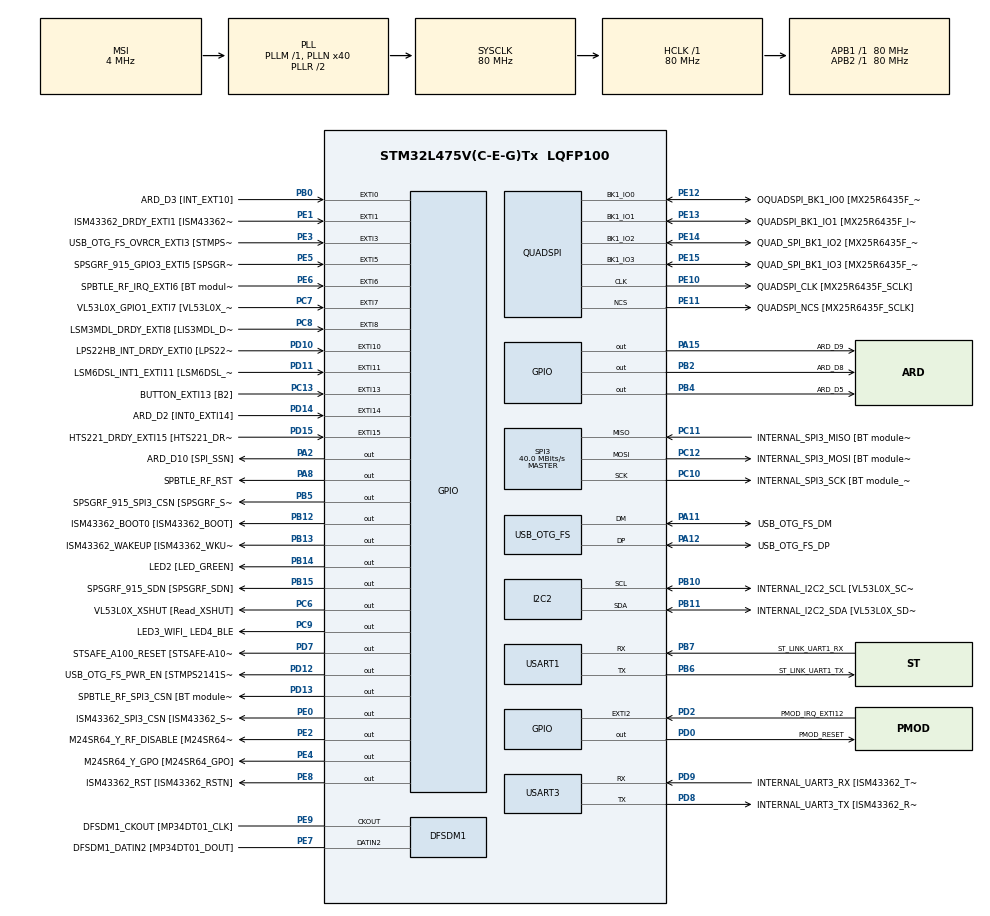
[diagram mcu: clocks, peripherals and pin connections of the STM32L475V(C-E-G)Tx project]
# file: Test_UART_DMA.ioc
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Dma.Request0=USART1_TX
Dma.USART1_TX.0.Direction=DMA_MEMORY_TO_PERIPH
Dma.USART1_TX.0.Instance=DMA1_Channel4
Dma.USART1_TX.0.MemDataAlignment=DMA_MDATAALIGN_BYTE
Dma.USART1_TX.0.MemInc=DMA_MINC_ENABLE
Dma.USART1_TX.0.Mode=DMA_NORMAL
Dma.USART1_TX.0.PeriphDataAlignment=DMA_PDATAALIGN_BYTE
Dma.USART1_TX.0.PeriphInc=DMA_PINC_DISABLE
Dma.USART1_TX.0.Priority=DMA_PRIORITY_LOW
FREERTOS.Tasks01=defaultTask,24,128,StartDefaultTask,Default,NULL,Dynamic,NULL,NULL
FREERTOS.configUSE_NEWLIB_REENTRANT=1
Mcu.Family=STM32L4
Mcu.Name=STM32L475V(C-E-G)Tx
Mcu.Package=LQFP100
NVIC.DMA1_Channel4_IRQn=true\:5\:0\:false\:false\:true\:true\:false\:true\:true
NVIC.EXTI15_10_IRQn=true\:5\:0\:false\:false\:true\:true\:true\:true\:true
NVIC.EXTI9_5_IRQn=true\:5\:0\:false\:false\:true\:true\:true\:true\:true
NVIC.PriorityGroup=NVIC_PRIORITYGROUP_4
NVIC.TIM1_UP_TIM16_IRQn=true\:15\:0\:false\:false\:true\:false\:false\:true\:true
NVIC.TimeBase=TIM1_UP_TIM16_IRQn
NVIC.TimeBaseIP=TIM1
NVIC.USART1_IRQn=true\:5\:0\:false\:false\:true\:true\:true\:true\:true
PA0.GPIO_Label=ARD_D1 [UART4_TX]
PA0.Signal=UART4_TX
PA1.GPIO_Label=ARD_D0 [UART4_RX]
PA1.Signal=UART4_RX
PA10.GPIO_Label=USB_OTG_FS_ID
PA10.Signal=USB_OTG_FS_ID
PA11.GPIO_Label=USB_OTG_FS_DM
PA11.Mode=Device_Only
PA11.Signal=USB_OTG_FS_DM
PA12.GPIO_Label=USB_OTG_FS_DP
PA12.Mode=Device_Only
PA12.Signal=USB_OTG_FS_DP
PA13\ (JTMS-SWDIO).GPIO_Label=SYS_JTMS_SWDIO
PA13\ (JTMS-SWDIO).Mode=Serial_Wire
PA13\ (JTMS-SWDIO).Signal=SYS_JTMS-SWDIO
PA14\ (JTCK-SWCLK).GPIO_Label=SYS_JTCK_SWCLK
PA14\ (JTCK-SWCLK).Mode=Serial_Wire
PA14\ (JTCK-SWCLK).Signal=SYS_JTCK-SWCLK
PA15\ (JTDI).GPIO_Label=ARD_D9
PA15\ (JTDI).Signal=GPIO_Output
PA2.GPIO_Label=ARD_D10 [SPI_SSN]
PA2.Signal=GPIO_Output
PA3.GPIO_Label=ARD_D4
PA3.Signal=S_TIM2_CH4
PA4.GPIO_Label=ARD_D7
PA4.Signal=ADCx_IN9
PA5.GPIO_Label=ARD_D13 [SPI1_SCK]
PA5.Signal=SPI1_SCK
PA6.GPIO_Label=ARD_D12 [SPI1_MISO]
PA6.Signal=SPI1_MISO
PA7.GPIO_Label=ARD_D11 [SPI1_MOSI]
PA7.Signal=SPI1_MOSI
PA8.GPIO_Label=SPBTLE_RF_RST
PA8.Signal=GPIO_Output
PA9.GPIO_Label=USB_OTG_FS_VBUS [STMPS2141STR_OUT]
PA9.Signal=USB_OTG_FS_VBUS
PB0.GPIO_Label=ARD_D3 [INT_EXT10]
PB0.Signal=GPXTI0
PB1.GPIO_Label=ARD_D6 [ADC1_IN6]
PB1.Signal=ADCx_IN16
PB10.GPIO_Label=INTERNAL_I2C2_SCL [VL53L0X_SCL]
PB10.GPIO_Pu=GPIO_PULLUP
PB10.Mode=I2C
PB10.Signal=I2C2_SCL
PB11.GPIO_Label=INTERNAL_I2C2_SDA [VL53L0X_SDA]
PB11.GPIO_Pu=GPIO_PULLUP
PB11.Mode=I2C
PB11.Signal=I2C2_SDA
PB12.GPIO_Label=ISM43362_BOOT0 [ISM43362_BOOT]
PB12.Signal=GPIO_Output
PB13.GPIO_Label=ISM43362_WAKEUP [ISM43362_WKUP]
PB13.Signal=GPIO_Output
PB14.GPIO_Label=LED2 [LED_GREEN]
PB14.Signal=GPIO_Output
PB15.GPIO_Label=SPSGRF_915_SDN [SPSGRF_SDN]
PB15.Signal=GPIO_Output
PB2.GPIO_Label=ARD_D8
PB2.Signal=GPIO_Output
PB3\ (JTDO-TRACESWO).GPIO_Label=SYS_JTD0_SWO
PB3\ (JTDO-TRACESWO).Signal=SYS_JTDO-SWO
PB4\ (NJTRST).GPIO_Label=ARD_D5
PB4\ (NJTRST).Signal=GPIO_Output
PB5.GPIO_Label=SPSGRF_915_SPI3_CSN [SPSGRF_SPI_CS]
PB5.PinState=GPIO_PIN_SET
PB5.Signal=GPIO_Output
PB6.GPIO_Label=ST_LINK_UART1_TX
PB6.Mode=Asynchronous
PB6.Signal=USART1_TX
PB7.GPIO_Label=ST_LINK_UART1_RX
PB7.Mode=Asynchronous
PB7.Signal=USART1_RX
PB8.GPIO_Label=ARD_D15 [I2C1_SCL]
PB8.Signal=I2C1_SCL
PB9.GPIO_Label=ARD_D14 [I2C1_SDA]
PB9.Signal=I2C1_SDA
PC0.GPIO_Label=ARD_A5 [ADC]
PC0.Signal=ADCx_IN1
PC1.GPIO_Label=ARD_A4 [ADC]
PC1.Signal=ADCx_IN2
PC10.GPIO_Label=INTERNAL_SPI3_SCK [BT module_SPI_SCLK] [ISM43362_SCK]
PC10.Mode=Full_Duplex_Master
PC10.Signal=SPI3_SCK
PC11.GPIO_Label=INTERNAL_SPI3_MISO [BT module_SPI_MISO] [ISM43362_MISO]
PC11.Mode=Full_Duplex_Master
PC11.Signal=SPI3_MISO
PC12.GPIO_Label=INTERNAL_SPI3_MOSI [BT module_SPI_MOSI] [ISM43362_MOSI]
PC12.Mode=Full_Duplex_Master
PC12.Signal=SPI3_MOSI
PC13.GPIO_Label=BUTTON_EXTI13 [B2]
PC13.GPIO_ModeDefaultEXTI=GPIO_MODE_IT_FALLING
PC13.Signal=GPXTI13
PC14-OSC32_IN\ (PC14).Mode=LSE-External-Oscillator
PC14-OSC32_IN\ (PC14).Signal=RCC_OSC32_IN
PC15-OSC32_OUT\ (PC15).Mode=LSE-External-Oscillator
PC15-OSC32_OUT\ (PC15).Signal=RCC_OSC32_OUT
PC2.GPIO_Label=ARD_A3 [ADC]
PC2.Signal=ADCx_IN3
PC3.GPIO_Label=ARD_A2 [ADC]
PC3.Signal=ADCx_IN4
PC4.GPIO_Label=ARD_A1 [ADC]
PC4.Signal=ADCx_IN13
PC5.GPIO_Label=ARD_A0 [ADC]
PC5.Signal=ADCx_IN14
PC6.GPIO_Label=VL53L0X_XSHUT [Read_XSHUT]
PC6.Signal=GPIO_Output
PC7.GPIO_Label=VL53L0X_GPIO1_EXTI7 [VL53L0X_GPIO1]
PC7.Signal=GPXTI7
PC8.GPIO_Label=LSM3MDL_DRDY_EXTI8 [LIS3MDL_DRDY]
PC8.Signal=GPXTI8
PC9.GPIO_Label=LED3_WIFI_ LED4_BLE
PC9.Signal=GPIO_Output
PD0.GPIO_Label=PMOD_RESET
PD0.Signal=GPIO_Output
PD1.GPIO_Label=PMOD_SPI2_SCK
PD1.Signal=SPI2_SCK
PD10.GPIO_Label=LPS22HB_INT_DRDY_EXTI0 [LPS22HB_INT_DRDY] 
PD10.Signal=GPXTI10
PD11.GPIO_Label=LSM6DSL_INT1_EXTI11 [LSM6DSL_INT1]
PD11.Signal=GPXTI11
PD12.GPIO_Label=USB_OTG_FS_PWR_EN [STMPS2141STR_EN]
PD12.Signal=GPIO_Output
PD13.GPIO_Label=SPBTLE_RF_SPI3_CSN [BT module_SPI_CS]
PD13.PinState=GPIO_PIN_SET
PD13.Signal=GPIO_Output
PD14.GPIO_Label=ARD_D2 [INT0_EXTI14]
PD14.Signal=GPXTI14
PD15.GPIO_Label=HTS221_DRDY_EXTI15 [HTS221_DRDY]
PD15.Signal=GPXTI15
PD2.GPIO_Label=PMOD_IRQ_EXTI12
PD2.Signal=GPXTI2
PD3.GPIO_Label=PMOD_UART2_CTS
PD3.Signal=USART2_CTS
PD4.GPIO_Label=PMOD_UART2_RTS
PD4.Signal=USART2_RTS
PD5.GPIO_Label=PMOD_UART2_TX
PD5.Signal=USART2_TX
PD6.GPIO_Label=PMOD_UART2_RX
PD6.Signal=USART2_RX
PD7.GPIO_Label=STSAFE_A100_RESET [STSAFE-A100_RESET]
PD7.Signal=GPIO_Output
PD8.GPIO_Label=INTERNAL_UART3_TX [ISM43362_RX]
PD8.Mode=Asynchronous
PD8.Signal=USART3_TX
PD9.GPIO_Label=INTERNAL_UART3_RX [ISM43362_TX]
PD9.Mode=Asynchronous
PD9.Signal=USART3_RX
PE0.GPIO_Label=ISM43362_SPI3_CSN [ISM43362_SSN]
PE0.PinState=GPIO_PIN_SET
PE0.Signal=GPIO_Output
PE1.GPIO_Label=ISM43362_DRDY_EXTI1 [ISM43362_DATARDY]
PE1.Signal=GPXTI1
PE10.GPIO_Label=QUADSPI_CLK [MX25R6435F_SCLK]
PE10.Mode=Single Bank
PE10.Signal=QUADSPI_CLK
PE11.GPIO_Label=QUADSPI_NCS [MX25R6435F_SCLK]
PE11.Mode=Single Bank
PE11.Signal=QUADSPI_NCS
PE12.GPIO_Label=OQUADSPI_BK1_IO0 [MX25R6435F_IO0]
PE12.Mode=Single Bank
PE12.Signal=QUADSPI_BK1_IO0
PE13.GPIO_Label=QUADSPI_BK1_IO1 [MX25R6435F_IO1]
PE13.Mode=Single Bank
PE13.Signal=QUADSPI_BK1_IO1
PE14.GPIO_Label=QUAD_SPI_BK1_IO2 [MX25R6435F_IO2]
PE14.Mode=Single Bank
PE14.Signal=QUADSPI_BK1_IO2
PE15.GPIO_Label=QUAD_SPI_BK1_IO3 [MX25R6435F_IO3]
PE15.Mode=Single Bank
PE15.Signal=QUADSPI_BK1_IO3
PE2.GPIO_Label=M24SR64_Y_RF_DISABLE [M24SR64_RFDIS]
PE2.Signal=GPIO_Output
PE3.GPIO_Label=USB_OTG_FS_OVRCR_EXTI3 [STMPS2141STR_FAULT]
PE3.Signal=GPXTI3
PE4.GPIO_Label=M24SR64_Y_GPO [M24SR64_GPO]
PE4.Signal=GPIO_Output
PE5.GPIO_Label=SPSGRF_915_GPIO3_EXTI5 [SPSGRF_GPIO_3]
PE5.Signal=GPXTI5
PE6.GPIO_Label=SPBTLE_RF_IRQ_EXTI6 [BT module_SPI_IRQ]
PE6.Signal=GPXTI6
PE7.GPIO_Label=DFSDM1_DATIN2 [MP34DT01_DOUT]
PE7.Signal=S_DATAIN2DFSDM1
PE8.GPIO_Label=ISM43362_RST [ISM43362_RSTN]
PE8.Signal=GPIO_Output
PE9.GPIO_Label=DFSDM1_CKOUT [MP34DT01_CLK]
PE9.Signal=S_CKOUTDFSDM1
ProjectManager.HeapSize=0x200
ProjectManager.StackSize=0x400
ProjectManager.TargetToolchain=STM32CubeIDE
QUADSPI.ClockPrescaler=2
QUADSPI.FifoThreshold=4
QUADSPI.FlashSize=23
QUADSPI.SampleShifting=QSPI_SAMPLE_SHIFTING_HALFCYCLE
RCC.ADCFreq_Value=48000000
RCC.AHBFreq_Value=80000000
RCC.APB1Freq_Value=80000000
RCC.APB1TimFreq_Value=80000000
RCC.APB2Freq_Value=80000000
RCC.APB2TimFreq_Value=80000000
RCC.CortexFreq_Value=80000000
RCC.HCLKFreq_Value=80000000
RCC.HSE_VALUE=8000000
RCC.HSI_VALUE=16000000
RCC.MSI_VALUE=4000000
RCC.PLLN=40
RCC.PLLSAI1N=24
RCC.SYSCLKFreq_VALUE=80000000
RCC.SYSCLKSource=RCC_SYSCLKSOURCE_PLLCLK
RCC.USBFreq_Value=48000000
RCC.VCOOutputFreq_Value=160000000
SH.ADCx_IN1.0=ADC1_IN1
SH.ADCx_IN13.0=ADC1_IN13
SH.ADCx_IN14.0=ADC1_IN14
SH.ADCx_IN16.0=ADC1_IN16
SH.ADCx_IN2.0=ADC1_IN2
SH.ADCx_IN3.0=ADC1_IN3
SH.ADCx_IN4.0=ADC1_IN4
SH.ADCx_IN9.0=ADC1_IN9
SH.S_CKOUTDFSDM1.0=DFSDM1_CKOUT,CKOUT
SH.S_CKOUTDFSDM1.1=DFSDM1_CKOUT,PDM_SPI_Input_from_ch12_and_Internal_Clock
SH.S_DATAIN2DFSDM1.0=DFSDM1_DATIN2,PDM_SPI_Input_from_ch12_and_Internal_Clock
SH.S_TIM2_CH4.0=TIM2_CH4
SPI3.CalculateBaudRate=40.0 MBits/s
SPI3.Direction=SPI_DIRECTION_2LINES
SPI3.Mode=SPI_MODE_MASTER
SPI3.VirtualType=VM_MASTER
USART1.VirtualMode-Asynchronous=VM_ASYNC
USART3.VirtualMode-Asynchronous=VM_ASYNC
USB_OTG_FS.VirtualMode=Device_Only
VP_FREERTOS_VS_CMSIS_V2.Mode=CMSIS_V2
VP_SYS_VS_tim1.Mode=TIM1
board=B-L475E-IOT01A1

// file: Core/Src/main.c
/* USER CODE BEGIN Header */
/**
  ******************************************************************************
  * @file           : main.c
  * @brief          : Main program body
  ******************************************************************************
  * @attention
  *
  * Copyright (c) 2024 STMicroelectronics.
  * All rights reserved.
  *
  * This software is licensed under terms that can be found in the LICENSE file
  * in the root directory of this software component.
  * If no LICENSE file comes with this software, it is provided AS-IS.
  *
  ******************************************************************************
  */
/* USER CODE END Header */
#include "main.h"
#include "cmsis_os.h"

DFSDM_Channel_HandleTypeDef hdfsdm1_channel1;

I2C_HandleTypeDef hi2c2;

QSPI_HandleTypeDef hqspi;

SPI_HandleTypeDef hspi3;

UART_HandleTypeDef huart1;
UART_HandleTypeDef huart3;
DMA_HandleTypeDef hdma_usart1_tx;

PCD_HandleTypeDef hpcd_USB_OTG_FS;

/* USER CODE BEGIN PV */

osThreadId_t TX_TaskHandle;
const osThreadAttr_t TX_Task_attributes = {
  .name = "tx_task",
  .stack_size = 128 * 4,
  .priority = (osPriority_t) osPriorityHigh,
};

osThreadId_t BG_TaskHandle;
const osThreadAttr_t BG_Task_attributes = {
  .name = "bg_task",
  .stack_size = 128 * 4,
  .priority = (osPriority_t) osPriorityNormal,
};

/* USER CODE END PV */

void SystemClock_Config(void);
static void MX_GPIO_Init(void);
static void MX_DMA_Init(void);
static void MX_DFSDM1_Init(void);
static void MX_I2C2_Init(void);
static void MX_QUADSPI_Init(void);
static void MX_SPI3_Init(void);
static void MX_USART1_UART_Init(void);
static void MX_USART3_UART_Init(void);
static void MX_USB_OTG_FS_PCD_Init(void);
void StartTXTask(void *argument);
void StartBGTask(void *argument);

int main(void)
{

  /* USER CODE BEGIN 1 */

	/* UART with DMA working!

	 What I needed to do:

	 Follow https://wiki.st.com/stm32mcu/wiki/Getting_started_with_UART#UART_with_DMA

	 At first I missed this step in CubeMX - important or you only get one (1) transfer):
	 	 - USART1 global interrupt in NVIC Settings should still be enabled.
	 */

  /* USER CODE END 1 */

  /* MCU Configuration--------------------------------------------------------*/

  /* Reset of all peripherals, Initializes the Flash interface and the Systick. */
  HAL_Init();

  /* Configure the system clock */
  SystemClock_Config();

  /* USER CODE BEGIN SysInit */
  SystemCoreClockUpdate();
  /* USER CODE END SysInit */

  /* Initialize all configured peripherals */
  MX_GPIO_Init();
  MX_DMA_Init();
  MX_DFSDM1_Init();
  MX_I2C2_Init();
  MX_QUADSPI_Init();
  MX_SPI3_Init();
  MX_USART1_UART_Init();
  MX_USART3_UART_Init();
  MX_USB_OTG_FS_PCD_Init();

  /* Init scheduler */
  osKernelInitialize();

  /* Create the thread(s) */

  /* USER CODE BEGIN RTOS_THREADS */
  TX_TaskHandle = osThreadNew(StartTXTask, NULL, &TX_Task_attributes);
  BG_TaskHandle = osThreadNew(StartBGTask, NULL, &BG_Task_attributes);
  /* USER CODE END RTOS_THREADS */

  /* Start scheduler */
  osKernelStart();

  /* We should never get here as control is now taken by the scheduler */

  /* Infinite loop */
  while (1)
  {

  }
}

void SystemClock_Config(void)
{
  RCC_OscInitTypeDef RCC_OscInitStruct = {0};
  RCC_ClkInitTypeDef RCC_ClkInitStruct = {0};

  /** Configure the main internal regulator output voltage
  */
  if (HAL_PWREx_ControlVoltageScaling(PWR_REGULATOR_VOLTAGE_SCALE1) != HAL_OK)
  {
    Error_Handler();
  }

  /** Configure LSE Drive Capability
  */
  HAL_PWR_EnableBkUpAccess();
  __HAL_RCC_LSEDRIVE_CONFIG(RCC_LSEDRIVE_LOW);

  /** Initializes the RCC Oscillators according to the specified parameters
  * in the RCC_OscInitTypeDef structure.
  */
  RCC_OscInitStruct.OscillatorType = RCC_OSCILLATORTYPE_LSE|RCC_OSCILLATORTYPE_MSI;
  RCC_OscInitStruct.LSEState = RCC_LSE_ON;
  RCC_OscInitStruct.MSIState = RCC_MSI_ON;
  RCC_OscInitStruct.MSICalibrationValue = 0;
  RCC_OscInitStruct.MSIClockRange = RCC_MSIRANGE_6;
  RCC_OscInitStruct.PLL.PLLState = RCC_PLL_ON;
  RCC_OscInitStruct.PLL.PLLSource = RCC_PLLSOURCE_MSI;
  RCC_OscInitStruct.PLL.PLLM = 1;
  RCC_OscInitStruct.PLL.PLLN = 40;
  RCC_OscInitStruct.PLL.PLLP = RCC_PLLP_DIV7;
  RCC_OscInitStruct.PLL.PLLQ = RCC_PLLQ_DIV2;
  RCC_OscInitStruct.PLL.PLLR = RCC_PLLR_DIV2;
  if (HAL_RCC_OscConfig(&RCC_OscInitStruct) != HAL_OK)
  {
    Error_Handler();
  }

  /** Initializes the CPU, AHB and APB buses clocks
  */
  RCC_ClkInitStruct.ClockType = RCC_CLOCKTYPE_HCLK|RCC_CLOCKTYPE_SYSCLK
                              |RCC_CLOCKTYPE_PCLK1|RCC_CLOCKTYPE_PCLK2;
  RCC_ClkInitStruct.SYSCLKSource = RCC_SYSCLKSOURCE_PLLCLK;
  RCC_ClkInitStruct.AHBCLKDivider = RCC_SYSCLK_DIV1;
  RCC_ClkInitStruct.APB1CLKDivider = RCC_HCLK_DIV1;
  RCC_ClkInitStruct.APB2CLKDivider = RCC_HCLK_DIV1;

  if (HAL_RCC_ClockConfig(&RCC_ClkInitStruct, FLASH_LATENCY_4) != HAL_OK)
  {
    Error_Handler();
  }

  /** Enable MSI Auto calibration
  */
  HAL_RCCEx_EnableMSIPLLMode();
}

static void MX_DFSDM1_Init(void)
{

  hdfsdm1_channel1.Instance = DFSDM1_Channel1;
  hdfsdm1_channel1.Init.OutputClock.Activation = ENABLE;
  hdfsdm1_channel1.Init.OutputClock.Selection = DFSDM_CHANNEL_OUTPUT_CLOCK_SYSTEM;
  hdfsdm1_channel1.Init.OutputClock.Divider = 2;
  hdfsdm1_channel1.Init.Input.Multiplexer = DFSDM_CHANNEL_EXTERNAL_INPUTS;
  hdfsdm1_channel1.Init.Input.DataPacking = DFSDM_CHANNEL_STANDARD_MODE;
  hdfsdm1_channel1.Init.Input.Pins = DFSDM_CHANNEL_FOLLOWING_CHANNEL_PINS;
  hdfsdm1_channel1.Init.SerialInterface.Type = DFSDM_CHANNEL_SPI_RISING;
  hdfsdm1_channel1.Init.SerialInterface.SpiClock = DFSDM_CHANNEL_SPI_CLOCK_INTERNAL;
  hdfsdm1_channel1.Init.Awd.FilterOrder = DFSDM_CHANNEL_FASTSINC_ORDER;
  hdfsdm1_channel1.Init.Awd.Oversampling = 1;
  hdfsdm1_channel1.Init.Offset = 0;
  hdfsdm1_channel1.Init.RightBitShift = 0x00;
  if (HAL_DFSDM_ChannelInit(&hdfsdm1_channel1) != HAL_OK)
  {
    Error_Handler();
  }

}

static void MX_I2C2_Init(void)
{

  hi2c2.Instance = I2C2;
  hi2c2.Init.Timing = 0x00000E14;
  hi2c2.Init.OwnAddress1 = 0;
  hi2c2.Init.AddressingMode = I2C_ADDRESSINGMODE_7BIT;
  hi2c2.Init.DualAddressMode = I2C_DUALADDRESS_DISABLE;
  hi2c2.Init.OwnAddress2 = 0;
  hi2c2.Init.OwnAddress2Masks = I2C_OA2_NOMASK;
  hi2c2.Init.GeneralCallMode = I2C_GENERALCALL_DISABLE;
  hi2c2.Init.NoStretchMode = I2C_NOSTRETCH_DISABLE;
  if (HAL_I2C_Init(&hi2c2) != HAL_OK)
  {
    Error_Handler();
  }

  /** Configure Analogue filter
  */
  if (HAL_I2CEx_ConfigAnalogFilter(&hi2c2, I2C_ANALOGFILTER_ENABLE) != HAL_OK)
  {
    Error_Handler();
  }

  /** Configure Digital filter
  */
  if (HAL_I2CEx_ConfigDigitalFilter(&hi2c2, 0) != HAL_OK)
  {
    Error_Handler();
  }

}

static void MX_QUADSPI_Init(void)
{

  /* QUADSPI parameter configuration*/
  hqspi.Instance = QUADSPI;
  hqspi.Init.ClockPrescaler = 2;
  hqspi.Init.FifoThreshold = 4;
  hqspi.Init.SampleShifting = QSPI_SAMPLE_SHIFTING_HALFCYCLE;
  hqspi.Init.FlashSize = 23;
  hqspi.Init.ChipSelectHighTime = QSPI_CS_HIGH_TIME_1_CYCLE;
  hqspi.Init.ClockMode = QSPI_CLOCK_MODE_0;
  if (HAL_QSPI_Init(&hqspi) != HAL_OK)
  {
    Error_Handler();
  }

}

static void MX_SPI3_Init(void)
{

  /* SPI3 parameter configuration*/
  hspi3.Instance = SPI3;
  hspi3.Init.Mode = SPI_MODE_MASTER;
  hspi3.Init.Direction = SPI_DIRECTION_2LINES;
  hspi3.Init.DataSize = SPI_DATASIZE_4BIT;
  hspi3.Init.CLKPolarity = SPI_POLARITY_LOW;
  hspi3.Init.CLKPhase = SPI_PHASE_1EDGE;
  hspi3.Init.NSS = SPI_NSS_SOFT;
  hspi3.Init.BaudRatePrescaler = SPI_BAUDRATEPRESCALER_2;
  hspi3.Init.FirstBit = SPI_FIRSTBIT_MSB;
  hspi3.Init.TIMode = SPI_TIMODE_DISABLE;
  hspi3.Init.CRCCalculation = SPI_CRCCALCULATION_DISABLE;
  hspi3.Init.CRCPolynomial = 7;
  hspi3.Init.CRCLength = SPI_CRC_LENGTH_DATASIZE;
  hspi3.Init.NSSPMode = SPI_NSS_PULSE_ENABLE;
  if (HAL_SPI_Init(&hspi3) != HAL_OK)
  {
    Error_Handler();
  }

}

static void MX_USART1_UART_Init(void)
{

  huart1.Instance = USART1;
  huart1.Init.BaudRate = 2200000; //2200000 works, default is 115200;
  huart1.Init.WordLength = UART_WORDLENGTH_8B;
  huart1.Init.StopBits = UART_STOPBITS_1;
  huart1.Init.Parity = UART_PARITY_NONE;
  huart1.Init.Mode = UART_MODE_TX_RX;
  huart1.Init.HwFlowCtl = UART_HWCONTROL_NONE;
  huart1.Init.OverSampling = UART_OVERSAMPLING_16;
  huart1.Init.OneBitSampling = UART_ONE_BIT_SAMPLE_DISABLE;
  huart1.AdvancedInit.AdvFeatureInit = UART_ADVFEATURE_NO_INIT;
  if (HAL_UART_Init(&huart1) != HAL_OK)
  {
    Error_Handler();
  }

}

static void MX_USART3_UART_Init(void)
{

  huart3.Instance = USART3;
  huart3.Init.BaudRate = 115200;
  huart3.Init.WordLength = UART_WORDLENGTH_8B;
  huart3.Init.StopBits = UART_STOPBITS_1;
  huart3.Init.Parity = UART_PARITY_NONE;
  huart3.Init.Mode = UART_MODE_TX_RX;
  huart3.Init.HwFlowCtl = UART_HWCONTROL_NONE;
  huart3.Init.OverSampling = UART_OVERSAMPLING_16;
  huart3.Init.OneBitSampling = UART_ONE_BIT_SAMPLE_DISABLE;
  huart3.AdvancedInit.AdvFeatureInit = UART_ADVFEATURE_NO_INIT;
  if (HAL_UART_Init(&huart3) != HAL_OK)
  {
    Error_Handler();
  }

}

static void MX_USB_OTG_FS_PCD_Init(void)
{

  hpcd_USB_OTG_FS.Instance = USB_OTG_FS;
  hpcd_USB_OTG_FS.Init.dev_endpoints = 6;
  hpcd_USB_OTG_FS.Init.speed = PCD_SPEED_FULL;
  hpcd_USB_OTG_FS.Init.phy_itface = PCD_PHY_EMBEDDED;
  hpcd_USB_OTG_FS.Init.Sof_enable = DISABLE;
  hpcd_USB_OTG_FS.Init.low_power_enable = DISABLE;
  hpcd_USB_OTG_FS.Init.lpm_enable = DISABLE;
  hpcd_USB_OTG_FS.Init.battery_charging_enable = DISABLE;
  hpcd_USB_OTG_FS.Init.use_dedicated_ep1 = DISABLE;
  hpcd_USB_OTG_FS.Init.vbus_sensing_enable = DISABLE;
  if (HAL_PCD_Init(&hpcd_USB_OTG_FS) != HAL_OK)
  {
    Error_Handler();
  }

}

static void MX_DMA_Init(void)
{

  /* DMA controller clock enable */
  __HAL_RCC_DMA1_CLK_ENABLE();

  /* DMA interrupt init */
  /* DMA1_Channel4_IRQn interrupt configuration */
  HAL_NVIC_SetPriority(DMA1_Channel4_IRQn, 5, 0);
  HAL_NVIC_EnableIRQ(DMA1_Channel4_IRQn);

}

static void MX_GPIO_Init(void)
{
  GPIO_InitTypeDef GPIO_InitStruct = {0};

  /* GPIO Ports Clock Enable */
  __HAL_RCC_GPIOE_CLK_ENABLE();
  __HAL_RCC_GPIOC_CLK_ENABLE();
  __HAL_RCC_GPIOA_CLK_ENABLE();
  __HAL_RCC_GPIOB_CLK_ENABLE();
  __HAL_RCC_GPIOD_CLK_ENABLE();

  /*Configure GPIO pin Output Level */
  HAL_GPIO_WritePin(GPIOE, M24SR64_Y_RF_DISABLE_Pin|M24SR64_Y_GPO_Pin|ISM43362_RST_Pin, GPIO_PIN_RESET);

  /*Configure GPIO pin Output Level */
  HAL_GPIO_WritePin(GPIOA, ARD_D10_Pin|SPBTLE_RF_RST_Pin|ARD_D9_Pin, GPIO_PIN_RESET);

  /*Configure GPIO pin Output Level */
  HAL_GPIO_WritePin(GPIOB, ARD_D8_Pin|ISM43362_BOOT0_Pin|ISM43362_WAKEUP_Pin|LED2_Pin
                          |SPSGRF_915_SDN_Pin|ARD_D5_Pin, GPIO_PIN_RESET);

  /*Configure GPIO pin Output Level */
  HAL_GPIO_WritePin(GPIOD, USB_OTG_FS_PWR_EN_Pin|PMOD_RESET_Pin|STSAFE_A100_RESET_Pin, GPIO_PIN_RESET);

  /*Configure GPIO pin Output Level */
  HAL_GPIO_WritePin(SPBTLE_RF_SPI3_CSN_GPIO_Port, SPBTLE_RF_SPI3_CSN_Pin, GPIO_PIN_SET);

  /*Configure GPIO pin Output Level */
  HAL_GPIO_WritePin(GPIOC, VL53L0X_XSHUT_Pin|LED3_WIFI__LED4_BLE_Pin, GPIO_PIN_RESET);

  /*Configure GPIO pin Output Level */
  HAL_GPIO_WritePin(SPSGRF_915_SPI3_CSN_GPIO_Port, SPSGRF_915_SPI3_CSN_Pin, GPIO_PIN_SET);

  /*Configure GPIO pin Output Level */
  HAL_GPIO_WritePin(ISM43362_SPI3_CSN_GPIO_Port, ISM43362_SPI3_CSN_Pin, GPIO_PIN_SET);

  /*Configure GPIO pins : M24SR64_Y_RF_DISABLE_Pin M24SR64_Y_GPO_Pin ISM43362_RST_Pin ISM43362_SPI3_CSN_Pin */
  GPIO_InitStruct.Pin = M24SR64_Y_RF_DISABLE_Pin|M24SR64_Y_GPO_Pin|ISM43362_RST_Pin|ISM43362_SPI3_CSN_Pin;
  GPIO_InitStruct.Mode = GPIO_MODE_OUTPUT_PP;
  GPIO_InitStruct.Pull = GPIO_NOPULL;
  GPIO_InitStruct.Speed = GPIO_SPEED_FREQ_LOW;
  HAL_GPIO_Init(GPIOE, &GPIO_InitStruct);

  /*Configure GPIO pins : USB_OTG_FS_OVRCR_EXTI3_Pin SPSGRF_915_GPIO3_EXTI5_Pin SPBTLE_RF_IRQ_EXTI6_Pin ISM43362_DRDY_EXTI1_Pin */
  GPIO_InitStruct.Pin = USB_OTG_FS_OVRCR_EXTI3_Pin|SPSGRF_915_GPIO3_EXTI5_Pin|SPBTLE_RF_IRQ_EXTI6_Pin|ISM43362_DRDY_EXTI1_Pin;
  GPIO_InitStruct.Mode = GPIO_MODE_IT_RISING;
  GPIO_InitStruct.Pull = GPIO_NOPULL;
  HAL_GPIO_Init(GPIOE, &GPIO_InitStruct);

  /*Configure GPIO pin : BUTTON_EXTI13_Pin */
  GPIO_InitStruct.Pin = BUTTON_EXTI13_Pin;
  GPIO_InitStruct.Mode = GPIO_MODE_IT_FALLING;
  GPIO_InitStruct.Pull = GPIO_NOPULL;
  HAL_GPIO_Init(BUTTON_EXTI13_GPIO_Port, &GPIO_InitStruct);

  /*Configure GPIO pins : ARD_A5_Pin ARD_A4_Pin ARD_A3_Pin ARD_A2_Pin
                           ARD_A1_Pin ARD_A0_Pin */
  GPIO_InitStruct.Pin = ARD_A5_Pin|ARD_A4_Pin|ARD_A3_Pin|ARD_A2_Pin
                          |ARD_A1_Pin|ARD_A0_Pin;
  GPIO_InitStruct.Mode = GPIO_MODE_ANALOG_ADC_CONTROL;
  GPIO_InitStruct.Pull = GPIO_NOPULL;
  HAL_GPIO_Init(GPIOC, &GPIO_InitStruct);

  /*Configure GPIO pins : ARD_D1_Pin ARD_D0_Pin */
  GPIO_InitStruct.Pin = ARD_D1_Pin|ARD_D0_Pin;
  GPIO_InitStruct.Mode = GPIO_MODE_AF_PP;
  GPIO_InitStruct.Pull = GPIO_NOPULL;
  GPIO_InitStruct.Speed = GPIO_SPEED_FREQ_VERY_HIGH;
  GPIO_InitStruct.Alternate = GPIO_AF8_UART4;
  HAL_GPIO_Init(GPIOA, &GPIO_InitStruct);

  /*Configure GPIO pins : ARD_D10_Pin SPBTLE_RF_RST_Pin ARD_D9_Pin */
  GPIO_InitStruct.Pin = ARD_D10_Pin|SPBTLE_RF_RST_Pin|ARD_D9_Pin;
  GPIO_InitStruct.Mode = GPIO_MODE_OUTPUT_PP;
  GPIO_InitStruct.Pull = GPIO_NOPULL;
  GPIO_InitStruct.Speed = GPIO_SPEED_FREQ_LOW;
  HAL_GPIO_Init(GPIOA, &GPIO_InitStruct);

  /*Configure GPIO pin : ARD_D4_Pin */
  GPIO_InitStruct.Pin = ARD_D4_Pin;
  GPIO_InitStruct.Mode = GPIO_MODE_AF_PP;
  GPIO_InitStruct.Pull = GPIO_NOPULL;
  GPIO_InitStruct.Speed = GPIO_SPEED_FREQ_LOW;
  GPIO_InitStruct.Alternate = GPIO_AF1_TIM2;
  HAL_GPIO_Init(ARD_D4_GPIO_Port, &GPIO_InitStruct);

  /*Configure GPIO pin : ARD_D7_Pin */
  GPIO_InitStruct.Pin = ARD_D7_Pin;
  GPIO_InitStruct.Mode = GPIO_MODE_ANALOG_ADC_CONTROL;
  GPIO_InitStruct.Pull = GPIO_NOPULL;
  HAL_GPIO_Init(ARD_D7_GPIO_Port, &GPIO_InitStruct);

  /*Configure GPIO pins : ARD_D13_Pin ARD_D12_Pin ARD_D11_Pin */
  GPIO_InitStruct.Pin = ARD_D13_Pin|ARD_D12_Pin|ARD_D11_Pin;
  GPIO_InitStruct.Mode = GPIO_MODE_AF_PP;
  GPIO_InitStruct.Pull = GPIO_NOPULL;
  GPIO_InitStruct.Speed = GPIO_SPEED_FREQ_VERY_HIGH;
  GPIO_InitStruct.Alternate = GPIO_AF5_SPI1;
  HAL_GPIO_Init(GPIOA, &GPIO_InitStruct);

  /*Configure GPIO pin : ARD_D3_Pin */
  GPIO_InitStruct.Pin = ARD_D3_Pin;
  GPIO_InitStruct.Mode = GPIO_MODE_IT_RISING;
  GPIO_InitStruct.Pull = GPIO_NOPULL;
  HAL_GPIO_Init(ARD_D3_GPIO_Port, &GPIO_InitStruct);

  /*Configure GPIO pin : ARD_D6_Pin */
  GPIO_InitStruct.Pin = ARD_D6_Pin;
  GPIO_InitStruct.Mode = GPIO_MODE_ANALOG_ADC_CONTROL;
  GPIO_InitStruct.Pull = GPIO_NOPULL;
  HAL_GPIO_Init(ARD_D6_GPIO_Port, &GPIO_InitStruct);

  /*Configure GPIO pins : ARD_D8_Pin ISM43362_BOOT0_Pin ISM43362_WAKEUP_Pin LED2_Pin
                           SPSGRF_915_SDN_Pin ARD_D5_Pin SPSGRF_915_SPI3_CSN_Pin */
  GPIO_InitStruct.Pin = ARD_D8_Pin|ISM43362_BOOT0_Pin|ISM43362_WAKEUP_Pin|LED2_Pin
                          |SPSGRF_915_SDN_Pin|ARD_D5_Pin|SPSGRF_915_SPI3_CSN_Pin;
  GPIO_InitStruct.Mode = GPIO_MODE_OUTPUT_PP;
  GPIO_InitStruct.Pull = GPIO_NOPULL;
  GPIO_InitStruct.Speed = GPIO_SPEED_FREQ_LOW;
  HAL_GPIO_Init(GPIOB, &GPIO_InitStruct);

  /*Configure GPIO pins : LPS22HB_INT_DRDY_EXTI0_Pin LSM6DSL_INT1_EXTI11_Pin ARD_D2_Pin HTS221_DRDY_EXTI15_Pin
                           PMOD_IRQ_EXTI12_Pin */
  GPIO_InitStruct.Pin = LPS22HB_INT_DRDY_EXTI0_Pin|LSM6DSL_INT1_EXTI11_Pin|ARD_D2_Pin|HTS221_DRDY_EXTI15_Pin
                          |PMOD_IRQ_EXTI12_Pin;
  GPIO_InitStruct.Mode = GPIO_MODE_IT_RISING;
  GPIO_InitStruct.Pull = GPIO_NOPULL;
  HAL_GPIO_Init(GPIOD, &GPIO_InitStruct);

  /*Configure GPIO pins : USB_OTG_FS_PWR_EN_Pin SPBTLE_RF_SPI3_CSN_Pin PMOD_RESET_Pin STSAFE_A100_RESET_Pin */
  GPIO_InitStruct.Pin = USB_OTG_FS_PWR_EN_Pin|SPBTLE_RF_SPI3_CSN_Pin|PMOD_RESET_Pin|STSAFE_A100_RESET_Pin;
  GPIO_InitStruct.Mode = GPIO_MODE_OUTPUT_PP;
  GPIO_InitStruct.Pull = GPIO_NOPULL;
  GPIO_InitStruct.Speed = GPIO_SPEED_FREQ_LOW;
  HAL_GPIO_Init(GPIOD, &GPIO_InitStruct);

  /*Configure GPIO pins : VL53L0X_XSHUT_Pin LED3_WIFI__LED4_BLE_Pin */
  GPIO_InitStruct.Pin = VL53L0X_XSHUT_Pin|LED3_WIFI__LED4_BLE_Pin;
  GPIO_InitStruct.Mode = GPIO_MODE_OUTPUT_PP;
  GPIO_InitStruct.Pull = GPIO_NOPULL;
  GPIO_InitStruct.Speed = GPIO_SPEED_FREQ_LOW;
  HAL_GPIO_Init(GPIOC, &GPIO_InitStruct);

  /*Configure GPIO pins : VL53L0X_GPIO1_EXTI7_Pin LSM3MDL_DRDY_EXTI8_Pin */
  GPIO_InitStruct.Pin = VL53L0X_GPIO1_EXTI7_Pin|LSM3MDL_DRDY_EXTI8_Pin;
  GPIO_InitStruct.Mode = GPIO_MODE_IT_RISING;
  GPIO_InitStruct.Pull = GPIO_NOPULL;
  HAL_GPIO_Init(GPIOC, &GPIO_InitStruct);

  /*Configure GPIO pin : PMOD_SPI2_SCK_Pin */
  GPIO_InitStruct.Pin = PMOD_SPI2_SCK_Pin;
  GPIO_InitStruct.Mode = GPIO_MODE_AF_PP;
  GPIO_InitStruct.Pull = GPIO_NOPULL;
  GPIO_InitStruct.Speed = GPIO_SPEED_FREQ_VERY_HIGH;
  GPIO_InitStruct.Alternate = GPIO_AF5_SPI2;
  HAL_GPIO_Init(PMOD_SPI2_SCK_GPIO_Port, &GPIO_InitStruct);

  /*Configure GPIO pins : PMOD_UART2_CTS_Pin PMOD_UART2_RTS_Pin PMOD_UART2_TX_Pin PMOD_UART2_RX_Pin */
  GPIO_InitStruct.Pin = PMOD_UART2_CTS_Pin|PMOD_UART2_RTS_Pin|PMOD_UART2_TX_Pin|PMOD_UART2_RX_Pin;
  GPIO_InitStruct.Mode = GPIO_MODE_AF_PP;
  GPIO_InitStruct.Pull = GPIO_NOPULL;
  GPIO_InitStruct.Speed = GPIO_SPEED_FREQ_VERY_HIGH;
  GPIO_InitStruct.Alternate = GPIO_AF7_USART2;
  HAL_GPIO_Init(GPIOD, &GPIO_InitStruct);

  /*Configure GPIO pins : ARD_D15_Pin ARD_D14_Pin */
  GPIO_InitStruct.Pin = ARD_D15_Pin|ARD_D14_Pin;
  GPIO_InitStruct.Mode = GPIO_MODE_AF_OD;
  GPIO_InitStruct.Pull = GPIO_NOPULL;
  GPIO_InitStruct.Speed = GPIO_SPEED_FREQ_VERY_HIGH;
  GPIO_InitStruct.Alternate = GPIO_AF4_I2C1;
  HAL_GPIO_Init(GPIOB, &GPIO_InitStruct);

  /* EXTI interrupt init*/
  HAL_NVIC_SetPriority(EXTI9_5_IRQn, 5, 0);
  HAL_NVIC_EnableIRQ(EXTI9_5_IRQn);

  HAL_NVIC_SetPriority(EXTI15_10_IRQn, 5, 0);
  HAL_NVIC_EnableIRQ(EXTI15_10_IRQn);

}

/* USER CODE BEGIN Header_StartDefaultTask */

/* USER CODE BEGIN 5 */

#define BUF_SIZE 2100
char tx_buff[BUF_SIZE];

unsigned int bg_counter = 0;

void StartTXTask(void *argument)
{

  for (int i = 0; i < BUF_SIZE; i++)
	  tx_buff[i] = '-';
  tx_buff[0] = '<';
  tx_buff[BUF_SIZE-1] = '>';

  for(;;)
  {
	  osDelayUntil(xTaskGetTickCount() + 10);
	  while(HAL_UART_Transmit_DMA(&huart1, tx_buff, BUF_SIZE) == HAL_BUSY)
	  {
		  osDelay(1);
	  }
  }
}

void StartBGTask(void *argument)
{
  volatile unsigned int ticks = 0;
  for(;;)
  {
	  ticks = xTaskGetTickCount();

	  if (ticks >= 5000)
	  {
		  ticks++;
	  }

	  bg_counter++;
  }
}

/* USER CODE END 5 */

void HAL_TIM_PeriodElapsedCallback(TIM_HandleTypeDef *htim)
{
  if (htim->Instance == TIM1) {
    HAL_IncTick();
  }
}

void Error_Handler(void)
{
  __disable_irq();
  while (1)
  {
  }
}
